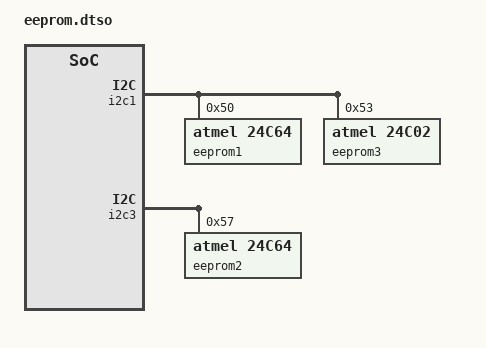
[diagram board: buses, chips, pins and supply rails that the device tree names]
/dts-v1/;
/plugin/;

&i2c1 {
	#address-cells = <1>;
	#size-cells = <0>;

	eeprom1: 24c64@50 {
		compatible = "atmel,24c64";
		reg = <0x50>;

		nvmem-layout {
			compatible = "fixed-layout";
			#address-cells = <1>;
			#size-cells = <1>;

			mac_addr1: mac-addr@0 {
				reg = <0x200 0x6>;
			};
			mac_addr2: mac-addr@6 {
				reg = <0x206 0x6>;
			};
		};
	};

	eeprom3: eeprom@53 {
	    compatible = "atmel,24c02";
	    reg = <0x53>;
	};
};

&i2c3 {
	#address-cells = <1>;
	#size-cells = <0>;

	eeprom2: 24c64@57 {
		compatible = "atmel,24c64";
		reg = <0x57>;
	};
};

&pcie1_port0 {
	pcie@0,0 {
		pcie@3,0 {
			pci@0,0 {
				nvmem-cells = <&mac_addr1>;
				nvmem-cell-names = "mac-address";
			};

			pci@0,1 {
				nvmem-cells = <&mac_addr2>;
				nvmem-cell-names = "mac-address";
			};
		};
	};
};
